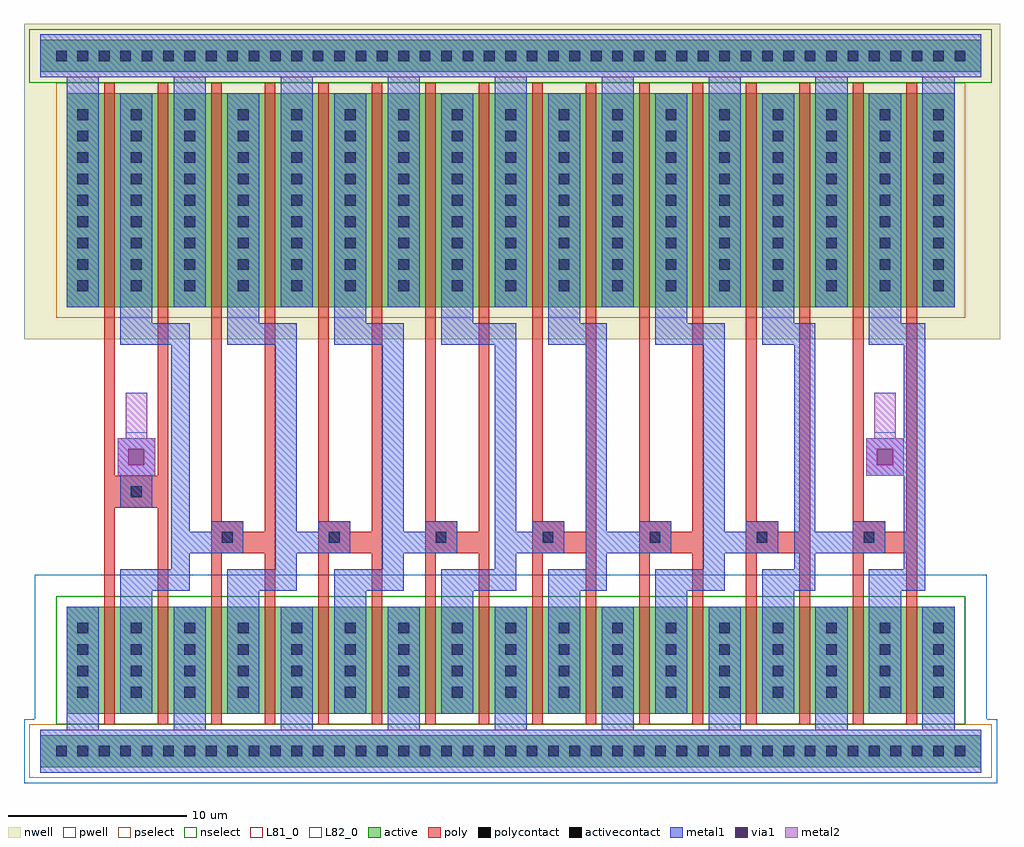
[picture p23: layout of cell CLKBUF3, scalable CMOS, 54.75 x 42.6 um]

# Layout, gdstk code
import gdstk
lib = gdstk.Library(unit=1e-6, precision=1e-09)
def R(c, l, rs):  # rectangles x0, y0, x1, y1
    for r in rs: c.add(gdstk.rectangle(r[:2], r[2:], *l))
def A(c, l, x, y, w, h, nx, ny, dx, dy):  # array of equal rectangles
    R(c, l, [(x+i*dx, y+j*dy, x+i*dx+w, y+j*dy+h) for i in range(nx) for j in range(ny)])
pwell = (41, 0)
nwell = (42, 0)
active = (43, 0)
pselect = (44, 0)
nselect = (45, 0)
poly = (46, 0)
polycontact = (47, 0)
activecontact = (48, 0)
metal1 = (49, 0)
via1 = (50, 0)
metal2 = (51, 0)
L81_0 = (81, 0)
L82_0 = (82, 0)

clkbuf3 = lib.new_cell('CLKBUF3')
R(clkbuf3, pwell, [(-1.8,-1.8,52.8,1.8), (-1.2,1.8,52.2,9.9)])
R(clkbuf3, nwell, [(-1.8,23.1,52.95,40.8)])
R(clkbuf3, active, [(-0.9,-0.9,51.9,0.9), (0.6,2.1,50.4,8.1), (0.6,24.9,50.4,36.9), (-0.9,38.1,51.9,39.9)])
R(clkbuf3, pselect, [(-1.5,-1.5,52.5,1.5), (0,24.3,51,37.5)])
R(clkbuf3, nselect, [(0,1.5,51,8.7), (-1.5,37.5,52.5,40.5)])
A(clkbuf3, poly, 8.7, 1.5, 0.6, 9.6, 14, 1, 3, 0)
A(clkbuf3, poly, 8.7, 11.1, 3.6, 1.2, 7, 1, 6, 0)
A(clkbuf3, poly, 8.7, 12.3, 1.8, 0.6, 7, 1, 6, 0)
A(clkbuf3, poly, 11.7, 12.3, 0.6, 25.2, 7, 1, 6, 0)
A(clkbuf3, poly, 8.7, 12.9, 0.6, 24.6, 7, 1, 6, 0)
R(clkbuf3, poly, [(2.7,1.5,3.3,13.65), (5.7,1.5,6.3,13.65), (2.7,13.65,6.3,15.45), (2.7,15.45,3.3,37.5), (5.7,15.45,6.3,37.5)])
A(clkbuf3, polycontact, 9.3, 11.7, 0.6, 0.6, 7, 1, 6, 0)
R(clkbuf3, polycontact, [(4.2,14.25,4.8,14.85)])
A(clkbuf3, activecontact, 0, -0.3, 0.6, 0.6, 43, 2, 1.2, 39)
A(clkbuf3, activecontact, 1.2, 3, 0.6, 0.6, 17, 4, 3, 1.2)
A(clkbuf3, activecontact, 1.2, 25.8, 0.6, 0.6, 17, 9, 3, 1.2)
A(clkbuf3, metal1, 0.6, 1.2, 1.8, 6.9, 9, 1, 6, 0)
A(clkbuf3, metal1, 3.6, 2.1, 1.8, 6.9, 8, 1, 6, 0)
A(clkbuf3, metal1, 3.6, 9, 3.9, 1.2, 3, 2, 6, 13.8)
A(clkbuf3, metal1, 8.7, 12.3, 1.8, 0.6, 7, 1, 6, 0)
A(clkbuf3, metal1, 3.6, 24, 1.8, 12.9, 8, 1, 6, 0)
A(clkbuf3, metal1, 0.6, 24.9, 1.8, 12.9, 9, 1, 6, 0)
R(clkbuf3, metal1, [(-0.9,-1.2,51.9,1.2), (21.6,9,25.8,10.2), (27.6,9,30.9,10.2), (33.6,9,37.5,10.2), (39.6,9,42.6,10.2), (45.6,9,48.75,10.2), (6.45,10.2,7.5,11.1), (12.3,10.2,13.5,11.1), (18.3,10.2,19.5,11.1), (24.6,10.2,25.8,11.1), (29.7,10.2,30.9,11.1), (36.3,10.2,37.5,11.1), (41.4,10.2,42.6,11.1), (47.55,10.2,48.75,15.45), (6.45,11.1,10.5,12.3), (12.3,11.1,16.5,12.3), (18.3,11.1,22.5,12.3), (24.6,11.1,28.5,12.3), (29.7,11.1,34.5,12.3), (36.3,11.1,40.5,12.3), (41.4,11.1,46.5,12.3), (6.45,12.3,7.5,22.8), (12.3,12.3,13.5,22.8), (18.3,12.3,19.5,22.8), (24.6,12.3,25.8,22.8), (29.7,12.3,30.9,22.8), (36.3,12.3,37.5,22.8), (41.4,12.3,42.6,22.8), (3.6,13.65,5.4,15.45), (3.45,15.45,5.55,17.55), (45.45,15.45,48.75,17.55), (47.55,17.55,48.75,22.8), (21.6,22.8,25.8,24), (27.6,22.8,30.9,24), (33.6,22.8,37.5,24), (39.6,22.8,42.6,24), (45.6,22.8,48.75,24), (-0.9,37.8,51.9,40.2)])
R(clkbuf3, via1, [(4.05,16.05,4.95,16.95), (46.05,16.05,46.95,16.95)])
R(clkbuf3, metal2, [(3.45,15.45,5.55,17.55), (45.45,15.45,47.55,17.55), (3.9,17.55,5.1,20.1), (45.9,17.55,47.1,20.1)])
R(clkbuf3, L81_0, [(-0.9,-1.2,51.9,1.2), (-0.9,37.8,51.9,40.2)])
R(clkbuf3, L82_0, [(3.9,17.85,5.1,20.1), (45.9,17.85,47.1,20.1)])

lib.write_gds('CLKBUF3.gds')
